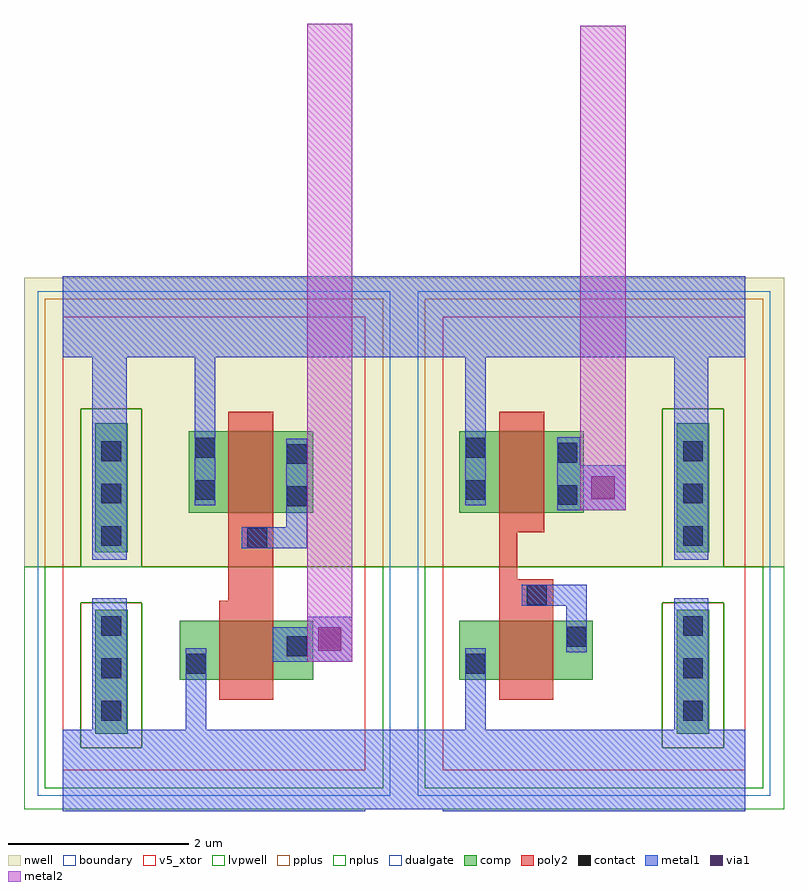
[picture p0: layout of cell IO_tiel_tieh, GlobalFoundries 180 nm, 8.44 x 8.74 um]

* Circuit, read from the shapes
.subckt IO_tiel_tieh VDD VSS
XM1 gf180mcu_fd_sc_mcu9t5v0__tiel_4/ZN n1 VSS VSS nfet_05v0 w=0.66u l=0.6u
XM2 n2 n2 VSS VSS nfet_05v0 w=0.66u l=0.6u
XM3 n1 n1 VDD VDD pfet_05v0 w=0.9u l=0.5u
XM4 gf180mcu_fd_sc_mcu9t5v0__tieh_5/Z n2 VDD VDD pfet_05v0 w=0.9u l=0.5u
.ends

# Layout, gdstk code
import gdstk
lib = gdstk.Library(unit=1e-6, precision=5e-09)
def R(c, l, rs):  # rectangles x0, y0, x1, y1
    for r in rs: c.add(gdstk.rectangle(r[:2], r[2:], *l))
def A(c, l, x, y, w, h, nx, ny, dx, dy):  # array of equal rectangles
    R(c, l, [(x+i*dx, y+j*dy, x+i*dx+w, y+j*dy+h) for i in range(nx) for j in range(ny)])
def P(c, l, *ps):  # polygons
    for p in ps: c.add(gdstk.Polygon(p, *l))
boundary = (0, 0)
nwell = (21, 0)
comp = (22, 0)
poly2 = (30, 0)
pplus = (31, 0)
nplus = (32, 0)
contact = (33, 0)
metal1 = (34, 0)
via1 = (35, 0)
metal2 = (36, 0)
dualgate = (55, 0)
v5_xtor = (112, 1)
lvpwell = (204, 0)

gf180mcu_fd_sc_mcu9t5v0_ = lib.new_cell('gf180mcu_fd_sc_mcu9t5v0__filltie$3$1')
R(gf180mcu_fd_sc_mcu9t5v0_, boundary, [(0,0,1.12,5.04)])
R(gf180mcu_fd_sc_mcu9t5v0_, nwell, [(-0.43,2.265,1.55,5.47)])
R(gf180mcu_fd_sc_mcu9t5v0_, comp, [(0.36,0.41,0.72,1.785), (0.36,2.425,0.72,3.855)])
R(gf180mcu_fd_sc_mcu9t5v0_, pplus, [(0.2,0.25,0.88,1.865)])
P(gf180mcu_fd_sc_mcu9t5v0_, pplus, [(-0.2,2.265),(-0.2,5.24),(1.32,5.24),(1.32,2.265),(0.88,2.265),(0.88,4.015),(0.2,4.015),(0.2,2.265)])
P(gf180mcu_fd_sc_mcu9t5v0_, nplus, [(-0.2,-0.2),(-0.2,2.265),(0.2,2.265),(0.2,4.015),(0.88,4.015),(0.88,1.865),(0.2,1.865),(0.2,0.25),(0.88,0.25),(0.88,4.015),(0.88,2.265),(1.32,2.265),(1.32,-0.2)])
A(gf180mcu_fd_sc_mcu9t5v0_, contact, 0.43, 0.555, 0.22, 0.22, 1, 3, 0, 0.47)
A(gf180mcu_fd_sc_mcu9t5v0_, contact, 0.43, 2.495, 0.22, 0.22, 1, 3, 0, 0.47)
P(gf180mcu_fd_sc_mcu9t5v0_, metal1, [(0,-0.45),(0,0.45),(0.33,0.45),(0.33,1.91),(0.71,1.91),(0.71,0.45),(1.12,0.45),(1.12,-0.45)],
  [(0.33,2.34),(0.33,4.59),(0,4.59),(0,5.49),(1.12,5.49),(1.12,4.59),(0.71,4.59),(0.71,2.34)])
R(gf180mcu_fd_sc_mcu9t5v0_, dualgate, [(-0.28,-0.28,1.4,5.32)])
R(gf180mcu_fd_sc_mcu9t5v0_, v5_xtor, [(0,0,1.12,5.04)])
R(gf180mcu_fd_sc_mcu9t5v0_, lvpwell, [(-0.43,-0.43,1.55,2.265)])
gf180mcu_fd_sc_mcu9t5v0_.add(gdstk.Label('VSS', (0.56,-0.45), layer=34, texttype=10))
gf180mcu_fd_sc_mcu9t5v0_.add(gdstk.Label('VDD', (0.56,5.49), layer=34, texttype=10))
gf180mcu_fd_sc_mcu9t5v0_.add(gdstk.Label('& Vendor GLOBALFOUNDRIES', (0,2), layer=63, texttype=63))
gf180mcu_fd_sc_mcu9t5v0_.add(gdstk.Label('& Product GF018hv5v_green_sc9', (0,1.5), layer=63, texttype=63))
gf180mcu_fd_sc_mcu9t5v0_.add(gdstk.Label('& Version 2015q2v2', (0,1), layer=63, texttype=63))
gf180mcu_fd_sc_mcu9t5v0_.add(gdstk.Label('& Metric 1.00', (0,0.5), layer=63, texttype=63))

via_dev_87_1 = lib.new_cell('via_dev$87$1')
R(via_dev_87_1, metal1, [(0,0,0.5,0.5)])
R(via_dev_87_1, via1, [(0.12,0.12,0.38,0.38)])
R(via_dev_87_1, metal2, [(0,0,0.5,0.5)])

c_gf180mcu_fd_sc_mcu9t5v0_ = lib.new_cell('gf180mcu_fd_sc_mcu9t5v0__tiel')
R(c_gf180mcu_fd_sc_mcu9t5v0_, boundary, [(0,0,2.24,5.04)])
R(c_gf180mcu_fd_sc_mcu9t5v0_, nwell, [(-0.43,2.265,2.67,5.47)])
R(c_gf180mcu_fd_sc_mcu9t5v0_, comp, [(0.18,1.005,1.66,1.665), (0.28,2.865,1.66,3.765)])
P(c_gf180mcu_fd_sc_mcu9t5v0_, poly2, [(0.62,0.785),(0.62,1.885),(0.72,1.885),(0.72,3.985),(1.22,3.985),(1.22,0.785)])
R(c_gf180mcu_fd_sc_mcu9t5v0_, pplus, [(-0.2,2.265,2.44,5.24)])
R(c_gf180mcu_fd_sc_mcu9t5v0_, nplus, [(-0.2,-0.2,2.44,2.265)])
R(c_gf180mcu_fd_sc_mcu9t5v0_, contact, [(0.25,1.075,0.47,1.295), (1.37,1.27,1.59,1.49), (0.93,2.475,1.15,2.695), (1.37,2.935,1.59,3.155), (0.35,3.005,0.57,3.225), (1.37,3.405,1.59,3.625), (0.35,3.475,0.57,3.695)])
R(c_gf180mcu_fd_sc_mcu9t5v0_, metal1, [(1.215,1.21,1.595,1.59)])
P(c_gf180mcu_fd_sc_mcu9t5v0_, metal1, [(0.87,2.47),(0.87,2.7),(1.365,2.7),(1.365,3.685),(1.595,3.685),(1.595,2.47)],
  [(0,-0.45),(0,0.45),(0.245,0.45),(0.245,1.355),(0.475,1.355),(0.475,0.45),(2.24,0.45),(2.24,-0.45)],
  [(0.345,2.945),(0.345,4.59),(0,4.59),(0,5.49),(2.24,5.49),(2.24,4.59),(0.575,4.59),(0.575,2.945)])
R(c_gf180mcu_fd_sc_mcu9t5v0_, dualgate, [(-0.28,-0.28,2.52,5.32)])
R(c_gf180mcu_fd_sc_mcu9t5v0_, v5_xtor, [(0,0,2.24,5.04)])
R(c_gf180mcu_fd_sc_mcu9t5v0_, lvpwell, [(-0.43,-0.43,2.67,2.265)])
c_gf180mcu_fd_sc_mcu9t5v0_.add(gdstk.Label('VDD', (1.12,5.49), layer=34, texttype=10))
c_gf180mcu_fd_sc_mcu9t5v0_.add(gdstk.Label('VSS', (1.12,-0.45), layer=34, texttype=10))
c_gf180mcu_fd_sc_mcu9t5v0_.add(gdstk.Label('ZN', (1.4,1.4), layer=34, texttype=10))
c_gf180mcu_fd_sc_mcu9t5v0_.add(gdstk.Label('& Vendor GLOBALFOUNDRIES', (0,2), layer=63, texttype=63))
c_gf180mcu_fd_sc_mcu9t5v0_.add(gdstk.Label('& Product GF018hv5v_green_sc9', (0,1.5), layer=63, texttype=63))
c_gf180mcu_fd_sc_mcu9t5v0_.add(gdstk.Label('& Version 2015q2v2', (0,1), layer=63, texttype=63))
c_gf180mcu_fd_sc_mcu9t5v0_.add(gdstk.Label('& Metric 1.00', (0,0.5), layer=63, texttype=63))
c_gf180mcu_fd_sc_mcu9t5v0_.add(gdstk.Label('VNW', (0.345,3.92), layer=21, texttype=10))
c_gf180mcu_fd_sc_mcu9t5v0_.add(gdstk.Label('VPW', (0.34,-0.085), layer=204, texttype=10))

c_gf180mcu_fd_sc_mcu9t5v0__ = lib.new_cell('gf180mcu_fd_sc_mcu9t5v0__tieh')
R(c_gf180mcu_fd_sc_mcu9t5v0__, boundary, [(0,0,2.24,5.04)])
R(c_gf180mcu_fd_sc_mcu9t5v0__, nwell, [(-0.43,2.265,2.67,5.47)])
R(c_gf180mcu_fd_sc_mcu9t5v0__, comp, [(0.185,1.005,1.665,1.665), (0.185,2.865,1.565,3.765)])
P(c_gf180mcu_fd_sc_mcu9t5v0__, poly2, [(0.625,0.785),(0.625,3.985),(1.125,3.985),(1.125,2.645),(0.825,2.645),(0.825,2.125),(1.225,2.125),(1.225,0.785)])
R(c_gf180mcu_fd_sc_mcu9t5v0__, pplus, [(-0.2,2.265,2.44,5.24)])
R(c_gf180mcu_fd_sc_mcu9t5v0__, nplus, [(-0.2,-0.2,2.44,2.265)])
R(c_gf180mcu_fd_sc_mcu9t5v0__, contact, [(0.255,1.075,0.475,1.295), (1.375,1.375,1.595,1.595), (0.935,1.835,1.155,2.055), (1.275,2.95,1.495,3.17), (0.255,3.005,0.475,3.225), (1.275,3.42,1.495,3.64), (0.255,3.475,0.475,3.695)])
R(c_gf180mcu_fd_sc_mcu9t5v0__, metal1, [(1.27,2.89,1.53,3.7)])
P(c_gf180mcu_fd_sc_mcu9t5v0__, metal1, [(1.37,1.315),(1.37,1.83),(0.875,1.83),(0.875,2.06),(1.6,2.06),(1.6,1.315)],
  [(0,-0.45),(0,0.45),(0.25,0.45),(0.25,1.355),(0.48,1.355),(0.48,0.45),(2.24,0.45),(2.24,-0.45)],
  [(0.25,2.945),(0.25,4.59),(0,4.59),(0,5.49),(2.24,5.49),(2.24,4.59),(0.48,4.59),(0.48,2.945)])
R(c_gf180mcu_fd_sc_mcu9t5v0__, dualgate, [(-0.28,-0.28,2.52,5.32)])
R(c_gf180mcu_fd_sc_mcu9t5v0__, v5_xtor, [(0,0,2.24,5.04)])
R(c_gf180mcu_fd_sc_mcu9t5v0__, lvpwell, [(-0.43,-0.43,2.67,2.265)])
c_gf180mcu_fd_sc_mcu9t5v0__.add(gdstk.Label('VDD', (1.12,5.49), layer=34, texttype=10))
c_gf180mcu_fd_sc_mcu9t5v0__.add(gdstk.Label('VSS', (1.12,-0.45), layer=34, texttype=10))
c_gf180mcu_fd_sc_mcu9t5v0__.add(gdstk.Label('Z', (1.4,3.08), layer=34, texttype=10))
c_gf180mcu_fd_sc_mcu9t5v0__.add(gdstk.Label('& Vendor GLOBALFOUNDRIES', (0,2), layer=63, texttype=63))
c_gf180mcu_fd_sc_mcu9t5v0__.add(gdstk.Label('& Product GF018hv5v_green_sc9', (0,1.5), layer=63, texttype=63))
c_gf180mcu_fd_sc_mcu9t5v0__.add(gdstk.Label('& Version 2015q2v2', (0,1), layer=63, texttype=63))
c_gf180mcu_fd_sc_mcu9t5v0__.add(gdstk.Label('& Metric 1.00', (0,0.5), layer=63, texttype=63))
c_gf180mcu_fd_sc_mcu9t5v0__.add(gdstk.Label('VNW', (0.345,3.92), layer=21, texttype=10))
c_gf180mcu_fd_sc_mcu9t5v0__.add(gdstk.Label('VPW', (0.34,-0.085), layer=204, texttype=10))

io_tiel_tieh = lib.new_cell('IO_tiel_tieh')
R(io_tiel_tieh, metal1, [(-2.455,-0.875,-1.485,0.005), (-3.38,4.145,-1.595,5.045)])
R(io_tiel_tieh, metal2, [(-3.1,0.765,-2.6,7.845), (-0.065,2.445,0.435,7.825)])
io_tiel_tieh.add(gdstk.Reference(gf180mcu_fd_sc_mcu9t5v0_, (-5.815,-0.445)))
io_tiel_tieh.add(gdstk.Reference(gf180mcu_fd_sc_mcu9t5v0_, (0.645,-0.445)))
io_tiel_tieh.add(gdstk.Reference(via_dev_87_1, (-3.1,0.765)))
io_tiel_tieh.add(gdstk.Reference(via_dev_87_1, (-0.065,2.445)))
io_tiel_tieh.add(gdstk.Reference(c_gf180mcu_fd_sc_mcu9t5v0_, (-4.695,-0.445)))
io_tiel_tieh.add(gdstk.Reference(c_gf180mcu_fd_sc_mcu9t5v0__, (-1.595,-0.445)))

lib.write_gds('IO_tiel_tieh.gds')
